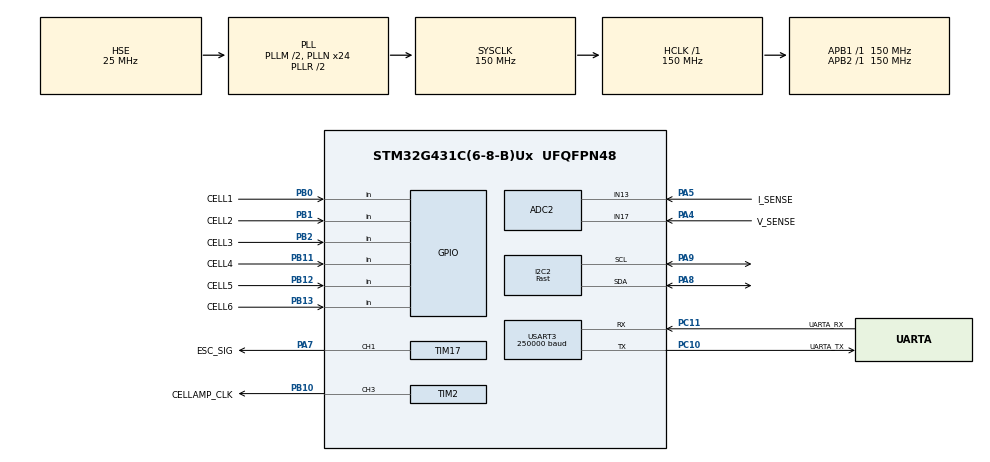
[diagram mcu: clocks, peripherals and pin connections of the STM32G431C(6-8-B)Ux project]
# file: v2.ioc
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ADC2.Channel-0\#ChannelRegularConversion=ADC_CHANNEL_17
ADC2.Channel-1\#ChannelRegularConversion=ADC_CHANNEL_13
ADC2.ContinuousConvMode=ENABLE
ADC2.NbrOfConversion=2
ADC2.NbrOfConversionFlag=1
ADC2.OffsetNumber-0\#ChannelRegularConversion=ADC_OFFSET_NONE
ADC2.OffsetNumber-1\#ChannelRegularConversion=ADC_OFFSET_NONE
ADC2.OversamplingMode=ENABLE
ADC2.Rank-0\#ChannelRegularConversion=1
ADC2.Rank-1\#ChannelRegularConversion=2
ADC2.Ratio=ADC_OVERSAMPLING_RATIO_256
ADC2.RightBitShift=ADC_RIGHTBITSHIFT_8
ADC2.SamplingTime-0\#ChannelRegularConversion=ADC_SAMPLETIME_2CYCLES_5
ADC2.SamplingTime-1\#ChannelRegularConversion=ADC_SAMPLETIME_2CYCLES_5
Dma.ADC2.0.Direction=DMA_PERIPH_TO_MEMORY
Dma.ADC2.0.EventEnable=DISABLE
Dma.ADC2.0.Instance=DMA1_Channel1
Dma.ADC2.0.MemDataAlignment=DMA_MDATAALIGN_HALFWORD
Dma.ADC2.0.MemInc=DMA_MINC_ENABLE
Dma.ADC2.0.Mode=DMA_NORMAL
Dma.ADC2.0.PeriphDataAlignment=DMA_PDATAALIGN_HALFWORD
Dma.ADC2.0.PeriphInc=DMA_PINC_DISABLE
Dma.ADC2.0.Polarity=HAL_DMAMUX_REQ_GEN_RISING
Dma.ADC2.0.Priority=DMA_PRIORITY_LOW
Dma.ADC2.0.RequestNumber=1
Dma.ADC2.0.SignalID=NONE
Dma.ADC2.0.SyncEnable=DISABLE
Dma.ADC2.0.SyncPolarity=HAL_DMAMUX_SYNC_NO_EVENT
Dma.ADC2.0.SyncRequestNumber=1
Dma.ADC2.0.SyncSignalID=NONE
Dma.Request0=ADC2
I2C2.I2C_Speed_Mode=I2C_Fast
I2C2.Timing=0x00E063FF
Mcu.Family=STM32G4
Mcu.Name=STM32G431C(6-8-B)Ux
Mcu.Package=UFQFPN48
NVIC.DMA1_Channel1_IRQn=true\:0\:0\:false\:false\:true\:false\:true\:true
NVIC.PriorityGroup=NVIC_PRIORITYGROUP_4
NVIC.TIM2_IRQn=true\:2\:0\:true\:false\:true\:true\:true\:true
NVIC.TIM6_DAC_IRQn=true\:3\:0\:true\:false\:true\:true\:true\:true
NVIC.USART3_IRQn=true\:1\:0\:true\:false\:true\:true\:true\:true
PA13.Mode=Serial_Wire
PA13.Signal=SYS_JTMS-SWDIO
PA14.Mode=Serial_Wire
PA14.Signal=SYS_JTCK-SWCLK
PA4.GPIO_Label=V_SENSE
PA4.Mode=IN17-Single-Ended
PA4.Signal=ADC2_IN17
PA5.GPIO_Label=I_SENSE
PA5.Mode=IN13-Single-Ended
PA5.Signal=ADC2_IN13
PA7.GPIO_Label=ESC_SIG
PA7.Signal=S_TIM17_CH1
PA8.Mode=I2C
PA8.Signal=I2C2_SDA
PA9.Mode=I2C
PA9.Signal=I2C2_SCL
PB0.GPIO_Label=CELL1
PB0.Signal=GPIO_Input
PB1.GPIO_Label=CELL2
PB1.Signal=GPIO_Input
PB10.GPIO_Label=CELLAMP_CLK
PB10.Signal=S_TIM2_CH3
PB11.GPIO_Label=CELL4
PB11.Signal=GPIO_Input
PB12.GPIO_Label=CELL5
PB12.Signal=GPIO_Input
PB13.GPIO_Label=CELL6
PB13.Signal=GPIO_Input
PB2.GPIO_Label=CELL3
PB2.Signal=GPIO_Input
PC10.GPIO_Label=UARTA_TX
PC10.Mode=Asynchronous
PC10.Signal=USART3_TX
PC11.GPIO_Label=UARTA_RX
PC11.Mode=Asynchronous
PC11.Signal=USART3_RX
PF0-OSC_IN.Mode=HSE-External-Oscillator
PF0-OSC_IN.Signal=RCC_OSC_IN
PF1-OSC_OUT.Mode=HSE-External-Oscillator
PF1-OSC_OUT.Signal=RCC_OSC_OUT
ProjectManager.HeapSize=0x200
ProjectManager.StackSize=0x400
ProjectManager.TargetToolchain=STM32CubeIDE
RCC.ADC12Freq_Value=150000000
RCC.AHBFreq_Value=150000000
RCC.APB1Freq_Value=150000000
RCC.APB1TimFreq_Value=150000000
RCC.APB2Freq_Value=150000000
RCC.APB2TimFreq_Value=150000000
RCC.CK48CLockSelection=RCC_USBCLKSOURCE_HSI48
RCC.CortexFreq_Value=150000000
RCC.EXTERNAL_CLOCK_VALUE=12288000
RCC.HCLKFreq_Value=150000000
RCC.HSE_VALUE=25000000
RCC.HSI48_VALUE=48000000
RCC.HSI_VALUE=16000000
RCC.LSE_VALUE=32768
RCC.PLLM=RCC_PLLM_DIV2
RCC.PLLN=24
RCC.PLLSourceVirtual=RCC_PLLSOURCE_HSE
RCC.SYSCLKFreq_VALUE=150000000
RCC.SYSCLKSource=RCC_SYSCLKSOURCE_PLLCLK
RCC.USART2CLockSelection=RCC_USART2CLKSOURCE_SYSCLK
RCC.USART3CLockSelection=RCC_USART3CLKSOURCE_SYSCLK
RCC.USBFreq_Value=48000000
RCC.VCOOutputFreq_Value=300000000
SH.S_TIM17_CH1.0=TIM17_CH1,PWM Generation1 CH1
SH.S_TIM2_CH3.0=TIM2_CH3,PWM Generation3 CH3
TIM17.Channel=TIM_CHANNEL_1
TIM17.PeriodNoDither=20000-1
TIM17.Prescaler=150-1
TIM17.PulseNoDither_1=1000
TIM2.Channel-PWM\ Generation3\ CH3=TIM_CHANNEL_3
TIM2.CounterMode=TIM_COUNTERMODE_DOWN
TIM2.PeriodNoDither=15
TIM2.Prescaler=150-1
TIM2.PulseNoDither_3=10
TIM6.PeriodNoDither=5000
TIM6.Prescaler=1500-1
USART3.AutoBaudRateEnableParam=UART_ADVFEATURE_AUTOBAUDRATE_DISABLE
USART3.BaudRate=250000
USART3.VirtualMode-Asynchronous=VM_ASYNC
VP_SYS_VS_DBSignals.Mode=DisableDeadBatterySignals
VP_TIM17_VS_ClockSourceINT.Mode=Enable_Timer
VP_TIM2_VS_ClockSourceINT.Mode=Internal
VP_TIM6_VS_ClockSourceINT.Mode=Enable_Timer
board=custom

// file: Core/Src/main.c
/* USER CODE BEGIN Header */
/**
 ******************************************************************************
 * @file           : main.c
 * @brief          : Main program body
 ******************************************************************************
 * @attention
 *
 * Copyright (c) 2023 Charles Surianto
 * All rights reserved.
 *
 ******************************************************************************
 */
/* USER CODE END Header */
#include "main.h"

/* USER CODE BEGIN Includes */
#include "stdio.h"
#include "stdint.h"
#include "string.h"
/* USER CODE END Includes */

ADC_HandleTypeDef hadc2;
DMA_HandleTypeDef hdma_adc2;

I2C_HandleTypeDef hi2c2;

TIM_HandleTypeDef htim2;
TIM_HandleTypeDef htim6;
TIM_HandleTypeDef htim17;

UART_HandleTypeDef huart3;

/* USER CODE BEGIN PV */
GPIO_TypeDef *HX717DataPorts[NUM_OF_CELLS] = {
    CELL1_GPIO_Port,
    CELL2_GPIO_Port,
    CELL3_GPIO_Port,
    CELL4_GPIO_Port,
    CELL5_GPIO_Port,
    CELL6_GPIO_Port};
uint16_t HX717DataPins[NUM_OF_CELLS] = {
    CELL1_Pin,
    CELL2_Pin,
    CELL3_Pin,
    CELL4_Pin,
    CELL5_Pin,
    CELL6_Pin};
int32_t RawCellReadings[NUM_OF_CELLS];
int8_t PulseCounter = -1;

uint16_t RawADCReadings[2];
float Voltage;
float Current;
float VoltPerADC;
float VoltOffset;
float AmpPerADC;
float AmpOffset;

float ForcePerADC[NUM_OF_CELLS];
float ForceOffset[NUM_OF_CELLS];

uint8_t UARTARxCounter = 0;
uint8_t UARTARxByte;
uint8_t UARTARxBuffer[UART_RX_BUFFER_SIZE];
uint8_t UARTATxBuffer[UART_TX_BUFFER_SIZE];

uint16_t ESCPulse = 1000;
uint16_t PrevESCPulse;

uint8_t EEPROMWriteBuffer[EEPROM_PAGE_SIZE]; // 16 bytes page size
/* USER CODE END PV */

void SystemClock_Config(void);
static void MX_GPIO_Init(void);
static void MX_DMA_Init(void);
static void MX_USART3_UART_Init(void);
static void MX_ADC2_Init(void);
static void MX_TIM17_Init(void);
static void MX_I2C2_Init(void);
static void MX_TIM2_Init(void);
static void MX_TIM6_Init(void);
/* USER CODE BEGIN PFP */
void HX717_Init(void);
void ReadEEPROM(void);
/* USER CODE END PFP */

int main(void)
{

    /* MCU Configuration--------------------------------------------------------*/

    /* Reset of all peripherals, Initializes the Flash interface and the Systick. */
    HAL_Init();

    /* Configure the system clock */
    SystemClock_Config();

    /* Initialize all configured peripherals */
    MX_GPIO_Init();
    MX_DMA_Init();
    MX_USART3_UART_Init();
    MX_ADC2_Init();
    MX_TIM17_Init();
    MX_I2C2_Init();
    MX_TIM2_Init();
    MX_TIM6_Init();
    /* USER CODE BEGIN 2 */
    HX717_Init();
    ReadEEPROM();

    HAL_TIM_PWM_Start(&ESCSIG_HTIM, ESCSIG_CHANNEL);
    HAL_TIM_Base_Start_IT(&PERIODIC_INT_HTIM);
    /* USER CODE END 2 */

    /* Infinite loop */
    while (1)
    {

    }
}

void SystemClock_Config(void)
{
    RCC_OscInitTypeDef RCC_OscInitStruct = {0};
    RCC_ClkInitTypeDef RCC_ClkInitStruct = {0};

    /** Configure the main internal regulator output voltage
     */
    HAL_PWREx_ControlVoltageScaling(PWR_REGULATOR_VOLTAGE_SCALE1);

    /** Initializes the RCC Oscillators according to the specified parameters
     * in the RCC_OscInitTypeDef structure.
     */
    RCC_OscInitStruct.OscillatorType = RCC_OSCILLATORTYPE_HSE;
    RCC_OscInitStruct.HSEState = RCC_HSE_ON;
    RCC_OscInitStruct.PLL.PLLState = RCC_PLL_ON;
    RCC_OscInitStruct.PLL.PLLSource = RCC_PLLSOURCE_HSE;
    RCC_OscInitStruct.PLL.PLLM = RCC_PLLM_DIV2;
    RCC_OscInitStruct.PLL.PLLN = 24;
    RCC_OscInitStruct.PLL.PLLP = RCC_PLLP_DIV2;
    RCC_OscInitStruct.PLL.PLLQ = RCC_PLLQ_DIV2;
    RCC_OscInitStruct.PLL.PLLR = RCC_PLLR_DIV2;
    if (HAL_RCC_OscConfig(&RCC_OscInitStruct) != HAL_OK)
    {
        Error_Handler();
    }

    /** Initializes the CPU, AHB and APB buses clocks
     */
    RCC_ClkInitStruct.ClockType = RCC_CLOCKTYPE_HCLK | RCC_CLOCKTYPE_SYSCLK | RCC_CLOCKTYPE_PCLK1 | RCC_CLOCKTYPE_PCLK2;
    RCC_ClkInitStruct.SYSCLKSource = RCC_SYSCLKSOURCE_PLLCLK;
    RCC_ClkInitStruct.AHBCLKDivider = RCC_SYSCLK_DIV1;
    RCC_ClkInitStruct.APB1CLKDivider = RCC_HCLK_DIV1;
    RCC_ClkInitStruct.APB2CLKDivider = RCC_HCLK_DIV1;

    if (HAL_RCC_ClockConfig(&RCC_ClkInitStruct, FLASH_LATENCY_4) != HAL_OK)
    {
        Error_Handler();
    }
}

static void MX_ADC2_Init(void)
{

    ADC_ChannelConfTypeDef sConfig = {0};

    /** Common config
     */
    hadc2.Instance = ADC2;
    hadc2.Init.ClockPrescaler = ADC_CLOCK_SYNC_PCLK_DIV4;
    hadc2.Init.Resolution = ADC_RESOLUTION_12B;
    hadc2.Init.DataAlign = ADC_DATAALIGN_RIGHT;
    hadc2.Init.GainCompensation = 0;
    hadc2.Init.ScanConvMode = ADC_SCAN_ENABLE;
    hadc2.Init.EOCSelection = ADC_EOC_SINGLE_CONV;
    hadc2.Init.LowPowerAutoWait = DISABLE;
    hadc2.Init.ContinuousConvMode = ENABLE;
    hadc2.Init.NbrOfConversion = 2;
    hadc2.Init.DiscontinuousConvMode = DISABLE;
    hadc2.Init.ExternalTrigConv = ADC_SOFTWARE_START;
    hadc2.Init.ExternalTrigConvEdge = ADC_EXTERNALTRIGCONVEDGE_NONE;
    hadc2.Init.DMAContinuousRequests = DISABLE;
    hadc2.Init.Overrun = ADC_OVR_DATA_PRESERVED;
    hadc2.Init.OversamplingMode = ENABLE;
    hadc2.Init.Oversampling.Ratio = ADC_OVERSAMPLING_RATIO_256;
    hadc2.Init.Oversampling.RightBitShift = ADC_RIGHTBITSHIFT_8;
    hadc2.Init.Oversampling.TriggeredMode = ADC_TRIGGEREDMODE_SINGLE_TRIGGER;
    hadc2.Init.Oversampling.OversamplingStopReset = ADC_REGOVERSAMPLING_CONTINUED_MODE;
    if (HAL_ADC_Init(&hadc2) != HAL_OK)
    {
        Error_Handler();
    }

    /** Configure Regular Channel
     */
    sConfig.Channel = ADC_CHANNEL_17;
    sConfig.Rank = ADC_REGULAR_RANK_1;
    sConfig.SamplingTime = ADC_SAMPLETIME_2CYCLES_5;
    sConfig.SingleDiff = ADC_SINGLE_ENDED;
    sConfig.OffsetNumber = ADC_OFFSET_NONE;
    sConfig.Offset = 0;
    if (HAL_ADC_ConfigChannel(&hadc2, &sConfig) != HAL_OK)
    {
        Error_Handler();
    }

    /** Configure Regular Channel
     */
    sConfig.Channel = ADC_CHANNEL_13;
    sConfig.Rank = ADC_REGULAR_RANK_2;
    if (HAL_ADC_ConfigChannel(&hadc2, &sConfig) != HAL_OK)
    {
        Error_Handler();
    }
}

static void MX_I2C2_Init(void)
{

    hi2c2.Instance = I2C2;
    hi2c2.Init.Timing = 0x00E063FF;
    hi2c2.Init.OwnAddress1 = 0;
    hi2c2.Init.AddressingMode = I2C_ADDRESSINGMODE_7BIT;
    hi2c2.Init.DualAddressMode = I2C_DUALADDRESS_DISABLE;
    hi2c2.Init.OwnAddress2 = 0;
    hi2c2.Init.OwnAddress2Masks = I2C_OA2_NOMASK;
    hi2c2.Init.GeneralCallMode = I2C_GENERALCALL_DISABLE;
    hi2c2.Init.NoStretchMode = I2C_NOSTRETCH_DISABLE;
    if (HAL_I2C_Init(&hi2c2) != HAL_OK)
    {
        Error_Handler();
    }

    /** Configure Analogue filter
     */
    if (HAL_I2CEx_ConfigAnalogFilter(&hi2c2, I2C_ANALOGFILTER_ENABLE) != HAL_OK)
    {
        Error_Handler();
    }

    /** Configure Digital filter
     */
    if (HAL_I2CEx_ConfigDigitalFilter(&hi2c2, 0) != HAL_OK)
    {
        Error_Handler();
    }
}

static void MX_TIM2_Init(void)
{

    TIM_ClockConfigTypeDef sClockSourceConfig = {0};
    TIM_MasterConfigTypeDef sMasterConfig = {0};
    TIM_OC_InitTypeDef sConfigOC = {0};

    htim2.Instance = TIM2;
    htim2.Init.Prescaler = 150 - 1;
    htim2.Init.CounterMode = TIM_COUNTERMODE_DOWN;
    htim2.Init.Period = 15;
    htim2.Init.ClockDivision = TIM_CLOCKDIVISION_DIV1;
    htim2.Init.AutoReloadPreload = TIM_AUTORELOAD_PRELOAD_DISABLE;
    if (HAL_TIM_Base_Init(&htim2) != HAL_OK)
    {
        Error_Handler();
    }
    sClockSourceConfig.ClockSource = TIM_CLOCKSOURCE_INTERNAL;
    if (HAL_TIM_ConfigClockSource(&htim2, &sClockSourceConfig) != HAL_OK)
    {
        Error_Handler();
    }
    if (HAL_TIM_PWM_Init(&htim2) != HAL_OK)
    {
        Error_Handler();
    }
    sMasterConfig.MasterOutputTrigger = TIM_TRGO_RESET;
    sMasterConfig.MasterSlaveMode = TIM_MASTERSLAVEMODE_DISABLE;
    if (HAL_TIMEx_MasterConfigSynchronization(&htim2, &sMasterConfig) != HAL_OK)
    {
        Error_Handler();
    }
    sConfigOC.OCMode = TIM_OCMODE_PWM1;
    sConfigOC.Pulse = 10;
    sConfigOC.OCPolarity = TIM_OCPOLARITY_HIGH;
    sConfigOC.OCFastMode = TIM_OCFAST_DISABLE;
    if (HAL_TIM_PWM_ConfigChannel(&htim2, &sConfigOC, TIM_CHANNEL_3) != HAL_OK)
    {
        Error_Handler();
    }
    HAL_TIM_MspPostInit(&htim2);
}

static void MX_TIM6_Init(void)
{

    TIM_MasterConfigTypeDef sMasterConfig = {0};

    htim6.Instance = TIM6;
    htim6.Init.Prescaler = 1500 - 1;
    htim6.Init.CounterMode = TIM_COUNTERMODE_UP;
    htim6.Init.Period = 5000;
    htim6.Init.AutoReloadPreload = TIM_AUTORELOAD_PRELOAD_DISABLE;
    if (HAL_TIM_Base_Init(&htim6) != HAL_OK)
    {
        Error_Handler();
    }
    sMasterConfig.MasterOutputTrigger = TIM_TRGO_RESET;
    sMasterConfig.MasterSlaveMode = TIM_MASTERSLAVEMODE_DISABLE;
    if (HAL_TIMEx_MasterConfigSynchronization(&htim6, &sMasterConfig) != HAL_OK)
    {
        Error_Handler();
    }
}

static void MX_TIM17_Init(void)
{

    TIM_OC_InitTypeDef sConfigOC = {0};
    TIM_BreakDeadTimeConfigTypeDef sBreakDeadTimeConfig = {0};

    htim17.Instance = TIM17;
    htim17.Init.Prescaler = 150 - 1;
    htim17.Init.CounterMode = TIM_COUNTERMODE_UP;
    htim17.Init.Period = 19999;
    htim17.Init.ClockDivision = TIM_CLOCKDIVISION_DIV1;
    htim17.Init.RepetitionCounter = 0;
    htim17.Init.AutoReloadPreload = TIM_AUTORELOAD_PRELOAD_DISABLE;
    if (HAL_TIM_Base_Init(&htim17) != HAL_OK)
    {
        Error_Handler();
    }
    if (HAL_TIM_PWM_Init(&htim17) != HAL_OK)
    {
        Error_Handler();
    }
    sConfigOC.OCMode = TIM_OCMODE_PWM1;
    sConfigOC.Pulse = 1000;
    sConfigOC.OCPolarity = TIM_OCPOLARITY_HIGH;
    sConfigOC.OCNPolarity = TIM_OCNPOLARITY_HIGH;
    sConfigOC.OCFastMode = TIM_OCFAST_DISABLE;
    sConfigOC.OCIdleState = TIM_OCIDLESTATE_RESET;
    sConfigOC.OCNIdleState = TIM_OCNIDLESTATE_RESET;
    if (HAL_TIM_PWM_ConfigChannel(&htim17, &sConfigOC, TIM_CHANNEL_1) != HAL_OK)
    {
        Error_Handler();
    }
    sBreakDeadTimeConfig.OffStateRunMode = TIM_OSSR_DISABLE;
    sBreakDeadTimeConfig.OffStateIDLEMode = TIM_OSSI_DISABLE;
    sBreakDeadTimeConfig.LockLevel = TIM_LOCKLEVEL_OFF;
    sBreakDeadTimeConfig.DeadTime = 0;
    sBreakDeadTimeConfig.BreakState = TIM_BREAK_DISABLE;
    sBreakDeadTimeConfig.BreakPolarity = TIM_BREAKPOLARITY_HIGH;
    sBreakDeadTimeConfig.BreakFilter = 0;
    sBreakDeadTimeConfig.AutomaticOutput = TIM_AUTOMATICOUTPUT_DISABLE;
    if (HAL_TIMEx_ConfigBreakDeadTime(&htim17, &sBreakDeadTimeConfig) != HAL_OK)
    {
        Error_Handler();
    }
    HAL_TIM_MspPostInit(&htim17);
}

static void MX_USART3_UART_Init(void)
{

    huart3.Instance = USART3;
    huart3.Init.BaudRate = 250000;
    huart3.Init.WordLength = UART_WORDLENGTH_8B;
    huart3.Init.StopBits = UART_STOPBITS_1;
    huart3.Init.Parity = UART_PARITY_NONE;
    huart3.Init.Mode = UART_MODE_TX_RX;
    huart3.Init.HwFlowCtl = UART_HWCONTROL_NONE;
    huart3.Init.OverSampling = UART_OVERSAMPLING_16;
    huart3.Init.OneBitSampling = UART_ONE_BIT_SAMPLE_DISABLE;
    huart3.Init.ClockPrescaler = UART_PRESCALER_DIV1;
    huart3.AdvancedInit.AdvFeatureInit = UART_ADVFEATURE_NO_INIT;
    if (HAL_UART_Init(&huart3) != HAL_OK)
    {
        Error_Handler();
    }
    if (HAL_UARTEx_SetTxFifoThreshold(&huart3, UART_TXFIFO_THRESHOLD_1_8) != HAL_OK)
    {
        Error_Handler();
    }
    if (HAL_UARTEx_SetRxFifoThreshold(&huart3, UART_RXFIFO_THRESHOLD_1_8) != HAL_OK)
    {
        Error_Handler();
    }
    if (HAL_UARTEx_DisableFifoMode(&huart3) != HAL_OK)
    {
        Error_Handler();
    }
    /* USER CODE BEGIN USART3_Init 2 */
    HAL_UART_Receive_IT(&HUARTA, &UARTARxByte, 1);
    /* USER CODE END USART3_Init 2 */
}

static void MX_DMA_Init(void)
{

    /* DMA controller clock enable */
    __HAL_RCC_DMAMUX1_CLK_ENABLE();
    __HAL_RCC_DMA1_CLK_ENABLE();

    /* DMA interrupt init */
    /* DMA1_Channel1_IRQn interrupt configuration */
    HAL_NVIC_SetPriority(DMA1_Channel1_IRQn, 0, 0);
    HAL_NVIC_EnableIRQ(DMA1_Channel1_IRQn);
}

static void MX_GPIO_Init(void)
{
    GPIO_InitTypeDef GPIO_InitStruct = {0};

    /* GPIO Ports Clock Enable */
    __HAL_RCC_GPIOF_CLK_ENABLE();
    __HAL_RCC_GPIOA_CLK_ENABLE();
    __HAL_RCC_GPIOB_CLK_ENABLE();
    __HAL_RCC_GPIOC_CLK_ENABLE();

    /*Configure GPIO pins : CELL1_Pin CELL2_Pin CELL3_Pin CELL4_Pin
                             CELL5_Pin CELL6_Pin */
    GPIO_InitStruct.Pin = CELL1_Pin | CELL2_Pin | CELL3_Pin | CELL4_Pin | CELL5_Pin | CELL6_Pin;
    GPIO_InitStruct.Mode = GPIO_MODE_INPUT;
    GPIO_InitStruct.Pull = GPIO_NOPULL;
    HAL_GPIO_Init(GPIOB, &GPIO_InitStruct);

}

/* USER CODE BEGIN 4 */
void HX717_Init(void)
{
    __HAL_TIM_SET_COMPARE(&CELLAMP_CLK_HTIM, CELLAMP_CLK_CHANNEL, 20); // 100% duty cycle
    HAL_TIM_PWM_Start(&CELLAMP_CLK_HTIM, CELLAMP_CLK_CHANNEL);
    HAL_Delay(1); // wait
    __HAL_TIM_SET_COUNTER(&CELLAMP_CLK_HTIM, 0xffff);
    HAL_TIM_PWM_Stop(&CELLAMP_CLK_HTIM, CELLAMP_CLK_CHANNEL);
    __HAL_TIM_SET_COMPARE(&CELLAMP_CLK_HTIM, CELLAMP_CLK_CHANNEL, 10);
    PulseCounter = 0;
}

void ReadEEPROM(void)
{
    /*
    EEPROM layout:
    +-------+-------------+-------------+-------------+-------------+
    |       | 00 01 02 03 | 04 05 06 07 | 08 09 0a 0b | 0c 0d 0e 0f |
    +-------+-------------+-------------+-------------+-------------+
    | 0x00: | V mult      | V offset    | A mult      | A offset    |
    | 0x10: | F1 mult     | F1 offset   | F2 mult     | F2 offset   |
    | 0x20: | F3 mult     | F3 offset   | F4 mult     | F4 offset   |
    | 0x30: | F5 mult     | F5 offset   | F6 mult     | F6 offset   |
    +-------+-------------+-------------+-------------+-------------+
    */

    uint8_t readBuffer[EEPROM_PAGE_SIZE * 4];
    HAL_I2C_Mem_Read(&hi2c2, EEPROM_DEVICE_ADDR << 1, 0x00, 1, readBuffer, EEPROM_PAGE_SIZE * 4, 1000);

    memcpy((uint8_t *)(&VoltPerADC), &readBuffer[4 * 0], 4);
    memcpy((uint8_t *)(&VoltOffset), &readBuffer[4 * 1], 4);
    memcpy((uint8_t *)(&AmpPerADC), &readBuffer[4 * 2], 4);
    memcpy((uint8_t *)(&AmpOffset), &readBuffer[4 * 3], 4);
    memcpy((uint8_t *)(&ForcePerADC[0]), &readBuffer[4 * 4], 4);
    memcpy((uint8_t *)(&ForceOffset[0]), &readBuffer[4 * 5], 4);
    memcpy((uint8_t *)(&ForcePerADC[1]), &readBuffer[4 * 6], 4);
    memcpy((uint8_t *)(&ForceOffset[1]), &readBuffer[4 * 7], 4);
    memcpy((uint8_t *)(&ForcePerADC[2]), &readBuffer[4 * 8], 4);
    memcpy((uint8_t *)(&ForceOffset[2]), &readBuffer[4 * 9], 4);
    memcpy((uint8_t *)(&ForcePerADC[3]), &readBuffer[4 * 10], 4);
    memcpy((uint8_t *)(&ForceOffset[3]), &readBuffer[4 * 11], 4);
    memcpy((uint8_t *)(&ForcePerADC[4]), &readBuffer[4 * 12], 4);
    memcpy((uint8_t *)(&ForceOffset[4]), &readBuffer[4 * 13], 4);
    memcpy((uint8_t *)(&ForcePerADC[5]), &readBuffer[4 * 14], 4);
    memcpy((uint8_t *)(&ForceOffset[5]), &readBuffer[4 * 15], 4);
}

void HAL_TIM_PeriodElapsedCallback(TIM_HandleTypeDef *htim)
{
    // periodic interrupt
    if (htim == &PERIODIC_INT_HTIM)
    {
        // start next cycle read
        if (HAL_GPIO_ReadPin(GPIOB, CELL1_Pin | CELL2_Pin | CELL3_Pin | CELL4_Pin | CELL5_Pin | CELL6_Pin) == 0 && PulseCounter == 0)
        {
            // read channel A with 128 gain (HX717 datasheet)
            HAL_TIM_PWM_Start_IT(&CELLAMP_CLK_HTIM, CELLAMP_CLK_CHANNEL);
        }

        // start adc reading
        HAL_ADC_Start_DMA(&hadc2, (uint32_t *)RawADCReadings, 2);

        // extend RawCellReadings sign bits
        for (int i = 0; i < NUM_OF_CELLS; i++)
        {
            if ((RawCellReadings[i] & (1 << 23)) != 0)
            {
                RawCellReadings[i] |= 0xff000000;
            }
            else
            {
                RawCellReadings[i] &= 0x00ffffff;
            }
        }

        // cook the string
        int bufferSize = sprintf((char *)UARTATxBuffer, "%u %.3f %.3f", ESCPulse, Voltage, Current);
        for (int i = 0; i < NUM_OF_CELLS; i++)
        {
            bufferSize += sprintf((char *)UARTATxBuffer + bufferSize, " %.3f", (float)RawCellReadings[i] * ForcePerADC[i] - ForceOffset[i]);
        }
        bufferSize += sprintf((char *)UARTATxBuffer + bufferSize, "\n");

        // write to serial
        HAL_UART_Transmit_IT(&HUARTA, UARTATxBuffer, bufferSize);
    }
}

void HAL_TIM_PWM_PulseFinishedCallback(TIM_HandleTypeDef *htim)
{
    // cell amp clock falling edge
    if (htim == &CELLAMP_CLK_HTIM)
    {
        PulseCounter++;

        // read all the bits
        if (PulseCounter <= 24)
        {
            for (int i = 0; i < NUM_OF_CELLS; i++)
            {
                RawCellReadings[i] <<= 1;
                if (HAL_GPIO_ReadPin(HX717DataPorts[i], HX717DataPins[i]))
                {
                    RawCellReadings[i] |= 1;
                }
            }
        }
        else if (PulseCounter >= 25)
        {
            __HAL_TIM_SET_COUNTER(&CELLAMP_CLK_HTIM, 0xffff);            // set pin low
            HAL_TIM_PWM_Stop_IT(&CELLAMP_CLK_HTIM, CELLAMP_CLK_CHANNEL); // stop clock pulses
            PulseCounter = 0;                                            // reset counter
        }
    }
}

void HAL_ADC_ConvCpltCallback(ADC_HandleTypeDef *hadc)
{
    if (hadc == &hadc2)
    {
        // convert raw to volts and amps
        Voltage = (float)RawADCReadings[0] * VoltPerADC - VoltOffset;
        Current = (float)RawADCReadings[1] * AmpPerADC - AmpOffset;
    }
}

void HAL_UART_RxCpltCallback(UART_HandleTypeDef *huart)
{
    if (huart == &HUARTA)
    {
        if (HAL_UART_Receive_IT(&HUARTA, &UARTARxByte, 1) == HAL_OK)
        {
            if (UARTARxByte == '\n' || UARTARxByte == '\r' || UARTARxCounter >= UART_RX_BUFFER_SIZE)
            {
                UARTARxBuffer[UARTARxCounter] = 0; // put string terminator
                UARTARxCounter = 0;                // reset counter

                if (UARTARxBuffer[0] == 'P')
                {
                    // save and set esc pulse
                    int receivedPulse = (UARTARxBuffer[1] - '0') * 1000  //
                                        + (UARTARxBuffer[2] - '0') * 100 //
                                        + (UARTARxBuffer[3] - '0') * 10  //
                                        + (UARTARxBuffer[4] - '0');      //

                    if (receivedPulse >= 1000 && receivedPulse <= 2000)
                    {
                        if (receivedPulse == PrevESCPulse)
                        {
                            ESCPulse = receivedPulse;
                            __HAL_TIM_SET_COMPARE(&ESCSIG_HTIM, ESCSIG_CHANNEL, ESCPulse);
                        }
                        PrevESCPulse = receivedPulse;
                    }
                }
                else if (UARTARxBuffer[0] == 'f' || UARTARxBuffer[0] == 'F')
                {
                    uint8_t cellNum = UARTARxBuffer[1] - '1';
                    if (cellNum >= 0 && cellNum <= 5)
                    {
                        float temp;
                        sscanf((char *)(&UARTARxBuffer[2]), "%f", &temp);

                        switch (UARTARxBuffer[0])
                        {
                        case 'f':
                            ForcePerADC[cellNum] *= temp;
                            ForceOffset[cellNum] *= temp;
                            break;
                        case 'F':
                            ForceOffset[cellNum] += temp;
                            break;
                        default:
                            break;
                        }

                        // write to eeprom
                        memcpy(&EEPROMWriteBuffer[0], (uint8_t *)(&ForcePerADC[cellNum]), 4);
                        memcpy(&EEPROMWriteBuffer[4], (uint8_t *)(&ForceOffset[cellNum]), 4);
                        HAL_I2C_Mem_Write(&hi2c2, EEPROM_DEVICE_ADDR << 1, (uint8_t)(0x10 + cellNum * 8), 1, EEPROMWriteBuffer, 8, 200);
                    }
                }
                else
                {
                    float temp;
                    sscanf((char *)(&UARTARxBuffer[1]), "%f", &temp);

                    switch (UARTARxBuffer[0])
                    {
                    case 'v':
                        VoltPerADC *= temp;
                        VoltOffset *= temp;
                        break;
                    case 'V':
                        VoltOffset += temp;
                        break;
                    case 'a':
                        AmpPerADC *= temp;
                        AmpOffset *= temp;
                        break;
                    case 'A':
                        AmpOffset += temp;
                        break;
                    default:
                        break;
                    }

                    // write to eeprom
                    memcpy(&EEPROMWriteBuffer[0], (uint8_t *)(&VoltPerADC), 4);
                    memcpy(&EEPROMWriteBuffer[4], (uint8_t *)(&VoltOffset), 4);
                    memcpy(&EEPROMWriteBuffer[8], (uint8_t *)(&AmpPerADC), 4);
                    memcpy(&EEPROMWriteBuffer[12], (uint8_t *)(&AmpOffset), 4);
                    HAL_I2C_Mem_Write(&hi2c2, EEPROM_DEVICE_ADDR << 1, 0x00, 1, EEPROMWriteBuffer, EEPROM_PAGE_SIZE, 200);
                }
            }
            else
            {
                // fill the buffer
                UARTARxBuffer[UARTARxCounter++] = UARTARxByte;
            }
        }
        else
        {
            HAL_UART_AbortReceive(&HUARTA);
            HAL_UART_Receive_IT(&HUARTA, &UARTARxByte, 1);
        }
    }
}

void HAL_UART_TxCpltCallback(UART_HandleTypeDef *huart)
{
    // if (huart == &HUARTA)
    // {
    // }
}

void HAL_I2C_MemRxCpltCallback(I2C_HandleTypeDef *hi2c)
{
    // if (hi2c == &hi2c2)
    // {
    // }
}

void HAL_I2C_MemTxCpltCallback(I2C_HandleTypeDef *hi2c)
{
    // if (hi2c == &hi2c2)
    // {
    // }
}
/* USER CODE END 4 */

void Error_Handler(void)
{
    __disable_irq();
    while (1)
    {
    }
}
